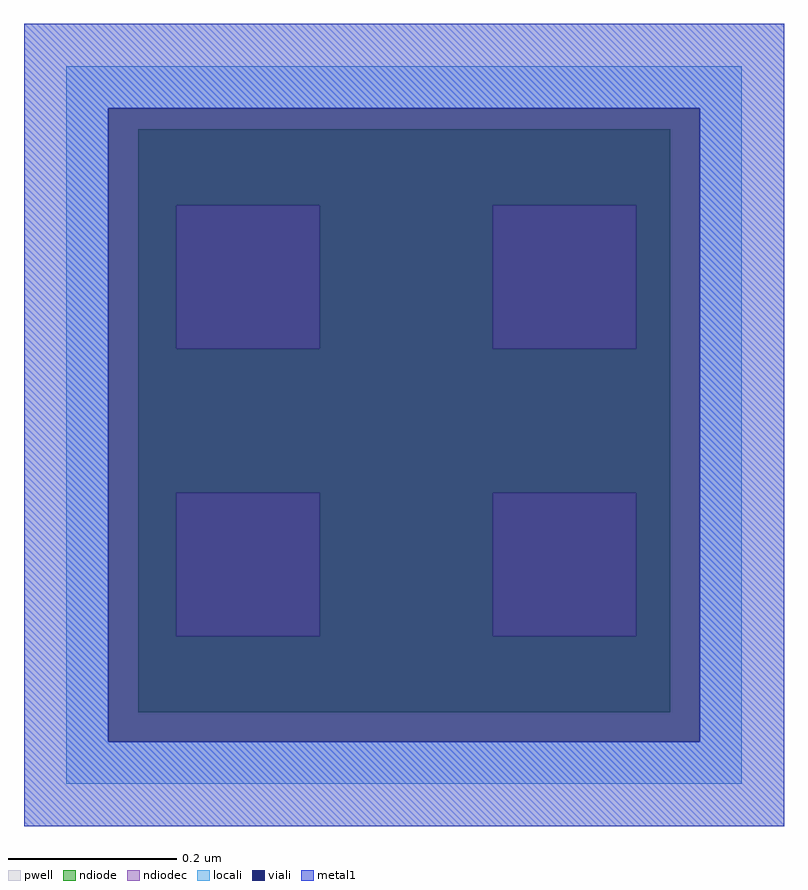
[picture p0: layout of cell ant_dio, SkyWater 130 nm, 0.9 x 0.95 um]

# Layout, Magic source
magic
tech sky130A
magscale 1 2
<< pwell >>
rect 420 20 600 210
<< ndiode >>
rect 447 167 573 185
rect 447 133 456 167
rect 490 133 531 167
rect 565 133 573 167
rect 447 99 573 133
rect 447 65 456 99
rect 490 65 531 99
rect 565 65 573 99
rect 447 47 573 65
<< ndiodec >>
rect 456 133 490 167
rect 531 133 565 167
rect 456 65 490 99
rect 531 65 565 99
<< locali >>
rect 430 190 590 200
rect 430 40 440 190
rect 580 40 590 190
rect 430 30 590 40
<< viali >>
rect 440 167 580 190
rect 440 133 456 167
rect 456 133 490 167
rect 490 133 531 167
rect 531 133 565 167
rect 565 133 580 167
rect 440 99 580 133
rect 440 65 456 99
rect 456 65 490 99
rect 490 65 531 99
rect 531 65 565 99
rect 565 65 580 99
rect 440 40 580 65
<< metal1 >>
rect 420 190 600 210
rect 420 40 440 190
rect 580 40 600 190
rect 420 20 600 40
<< end >>
